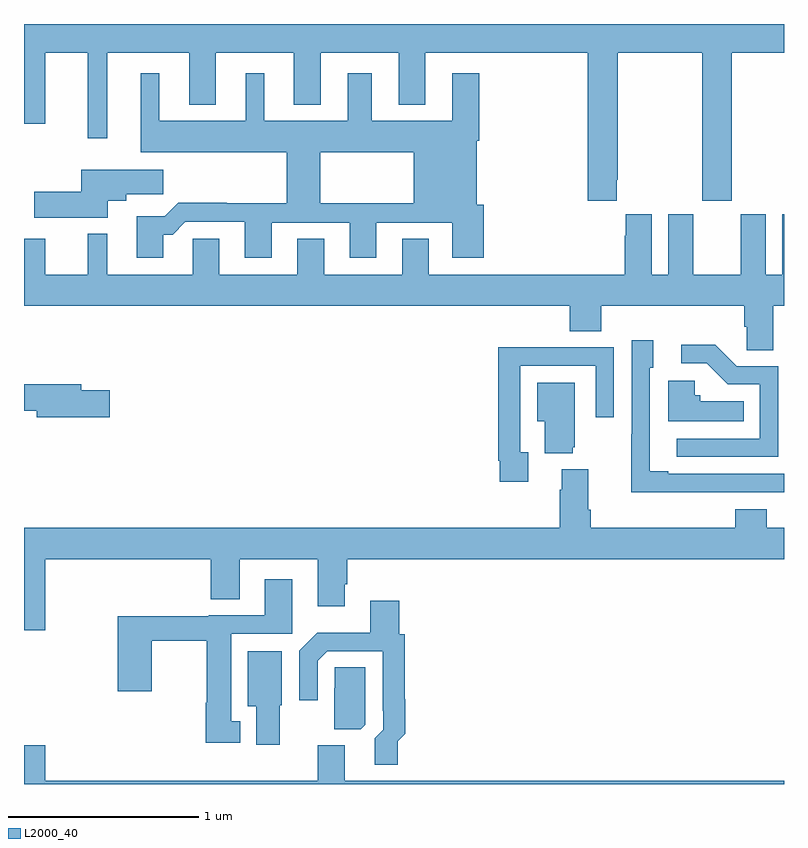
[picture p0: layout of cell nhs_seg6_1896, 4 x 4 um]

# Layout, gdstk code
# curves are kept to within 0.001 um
import gdstk
lib = gdstk.Library(unit=1e-6, precision=1e-09)
def P(c, l, *ps):  # polygons
    for p in ps: c.add(gdstk.Polygon(p, *l))
L2000_40 = (2000, 40)

nhs_seg6_1896 = lib.new_cell('nhs_seg6_1896')
P(nhs_seg6_1896, L2000_40, [(228.121,934.681),(228.126,934.681),(228.126,935.348),(228.571,935.348),(228.571,934.569),(228.726,934.569),(228.726,935.348),(229,935.348),(229,935.5),(225,935.5),(225,934.974),(225.112,934.974),(225.112,935.348),(225.335,935.348),(225.335,934.899),(225.439,934.899),(225.439,935.348),(225.869,935.348),(225.869,935.075),(226.009,935.075),(226.009,935.348),(226.421,935.348),(226.421,935.075),(226.561,935.075),(226.561,935.348),(226.973,935.348),(226.973,935.075),(227.113,935.075),(227.113,935.348),(227.966,935.348),(227.966,934.569),(228.121,934.569)],
  [(226.067,934.559),(225.812,934.559),(225.742,934.489),(225.593,934.489),(225.593,934.269),(225.733,934.269),(225.733,934.391),(225.782,934.391),(225.849,934.458),(226.163,934.458),(226.163,934.269),(226.303,934.269),(226.303,934.455),(226.715,934.455),(226.715,934.269),(226.855,934.269),(226.855,934.455),(227.255,934.455),(227.255,934.269),(227.42,934.269),(227.42,934.548),(227.383,934.548),(227.383,934.886),(227.396,934.886),(227.396,935.242),(227.255,935.242),(227.255,934.99),(226.831,934.99),(226.831,935.242),(226.703,935.242),(226.703,934.99),(226.264,934.99),(226.264,935.242),(226.166,935.242),(226.166,934.99),(225.712,934.99),(225.712,935.242),(225.614,935.242),(225.614,934.826),(226.382,934.826),(226.382,934.556),(226.56,934.556),(226.56,934.826),(227.051,934.826),(227.051,934.556),(226.067,934.556)],
  [(225.442,934.571),(225.538,934.571),(225.538,934.603),(225.733,934.603),(225.733,934.732),(225.302,934.732),(225.302,934.616),(225.054,934.616),(225.054,934.481),(225.442,934.481)],
  [(228.943,934.016),(229,934.016),(229,934.498),(228.992,934.498),(228.992,934.18),(228.904,934.18),(228.904,934.498),(228.773,934.498),(228.773,934.18),(228.523,934.18),(228.523,934.498),(228.392,934.498),(228.392,934.18),(228.304,934.18),(228.304,934.498),(228.167,934.498),(228.167,934.385),(228.161,934.385),(228.161,934.18),(227.131,934.18),(227.131,934.37),(226.991,934.37),(226.991,934.18),(226.579,934.18),(226.579,934.37),(226.439,934.37),(226.439,934.18),(226.027,934.18),(226.027,934.37),(225.888,934.37),(225.888,934.18),(225.439,934.18),(225.439,934.396),(225.335,934.396),(225.335,934.18),(225.112,934.18),(225.112,934.369),(225,934.369),(225,934.016),(227.873,934.016),(227.873,933.883),(228.038,933.883),(228.038,934.016),(228.791,934.016),(228.791,933.907),(228.804,933.907),(228.804,933.784),(228.943,933.784)],
  [(228.659,933.036),(229,933.036),(229,933.132),(228.391,933.132),(228.391,933.145),(228.294,933.145),(228.294,933.69),(228.313,933.69),(228.313,933.835),(228.198,933.835),(228.198,933.341),(228.196,933.341),(228.196,933.035),(228.659,933.035)],
  [(228.969,933.699),(228.75,933.699),(228.637,933.812),(228.459,933.812),(228.459,933.714),(228.593,933.714),(228.704,933.603),(228.873,933.603),(228.873,933.318),(228.435,933.318),(228.435,933.222),(228.969,933.222)],
  [(227.653,933.246),(227.613,933.246),(227.613,933.702),(228.009,933.702),(228.009,933.429),(228.105,933.429),(228.105,933.798),(227.789,933.798),(227.789,933.8),(227.497,933.8),(227.497,933.202),(227.505,933.202),(227.505,933.09),(227.653,933.09)],
  [(228.788,933.514),(228.558,933.514),(228.558,933.546),(228.531,933.546),(228.531,933.622),(228.392,933.622),(228.392,933.41),(228.788,933.41)],
  [(227.888,933.273),(227.899,933.273),(227.899,933.613),(227.702,933.613),(227.702,933.41),(227.741,933.41),(227.741,933.242),(227.888,933.242)],
  [(225.451,933.573),(225.301,933.573),(225.301,933.603),(225,933.603),(225,933.464),(225.066,933.464),(225.066,933.431),(225.451,933.431)],
  [(225.112,932.684),(225.983,932.684),(225.983,932.473),(226.135,932.473),(226.135,932.684),(226.547,932.684),(226.547,932.436),(226.687,932.436),(226.687,932.551),(226.7,932.551),(226.7,932.684),(229,932.684),(229,932.848),(228.908,932.848),(228.908,932.947),(228.743,932.947),(228.743,932.848),(227.984,932.848),(227.984,932.944),(227.971,932.944),(227.971,933.157),(227.831,933.157),(227.831,933.05),(227.819,933.05),(227.819,932.848),(225,932.848),(225,932.31),(225.112,932.31)],
  [(226.138,931.829),(226.09,931.829),(226.09,932.292),(226.411,932.292),(226.411,932.578),(226.268,932.578),(226.268,932.388),(225.972,932.388),(225.972,932.383),(225.494,932.383),(225.494,931.989),(225.672,931.989),(225.672,932.254),(225.961,932.254),(225.961,931.928),(225.956,931.928),(225.956,931.716),(226.138,931.716)],
  [(226.967,931.725),(227.006,931.764),(227.006,931.946),(227.003,931.946),(227.003,932.289),(226.976,932.289),(226.976,932.464),(226.823,932.464),(226.823,932.296),(226.543,932.296),(226.449,932.202),(226.449,931.941),(226.545,931.941),(226.545,932.148),(226.596,932.199),(226.887,932.199),(226.887,931.885),(226.89,931.885),(226.89,931.785),(226.847,931.742),(226.847,931.602),(226.967,931.602)],
  [(226.345,931.914),(226.357,931.914),(226.357,932.2),(226.178,932.2),(226.178,931.91),(226.223,931.91),(226.223,931.707),(226.345,931.707)],
  [(226.797,931.812),(226.797,932.114),(226.635,932.114),(226.635,932.003),(226.634,932.003),(226.634,931.789),(226.773,931.789)],
  [(229,931.516),(226.687,931.516),(226.687,931.704),(226.547,931.704),(226.547,931.516),(225.112,931.516),(225.112,931.705),(225,931.705),(225,931.5),(229,931.5)])

lib.write_gds('nhs_seg6_1896.gds')
